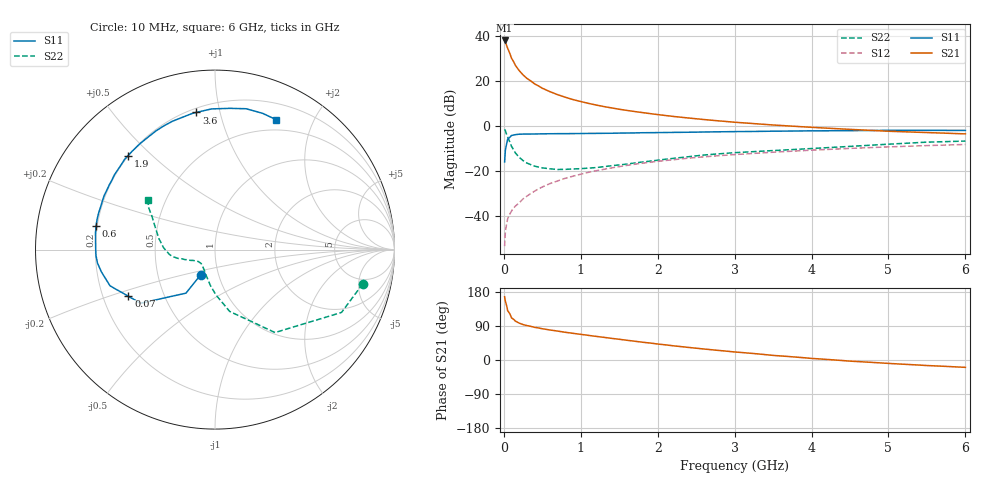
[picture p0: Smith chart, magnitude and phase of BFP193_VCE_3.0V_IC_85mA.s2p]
! Infineon Technologies  Discrete & RF Semiconductors
! BFP193
! VCE =  3.0 V,  IC =  85 mA
! Common Emitter S-Parameters:  Jan 2017
# GHz  S  MA  R  50
!  f  S11  S21  S12  S22
! GHz  MAG  ANG  MAG  ANG  MAG  ANG  MAG  ANG
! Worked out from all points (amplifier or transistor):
!   77 points, 10 MHz to 6 GHz, reference 50 ohm
!   highest |S21| = 37.9 dB at 10 MHz (marker M1)
!   |S21| within 3 dB of that: start of sweep to 44.46 MHz
!   unconditionally stable (mu >= 1): 284.4 MHz to 2.55 GHz
!   at 130 MHz: K = 0.78, MSG = 32.2 dB, |S12| = -36.2 dB
!   at 2.2 GHz: K = 1.02, MAG = 8.7 dB, |S12| = -14.9 dB
!   at 6 GHz: K = 0.95, MSG = 2.3 dB, |S12| = -8.1 dB
!   S11 on the Smith chart (normalised r, x): 10 MHz: 0.82, -0.24; 70 MHz: 0.31, -0.23; 600 MHz: 0.20, +0.10; 1.9 GHz: 0.20, +0.42; 3.6 GHz: 0.22, +0.85; 6 GHz: 0.37, +1.51
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0.01  0.161 -119.6  78.21 166.8  0.0022 81.2  0.8452 -13.0
0.02  0.2917 -123.7  73.49 154.9  0.0046 80.8  0.7871 -26.4
0.05  0.5111 -144.2  52.3 129.7  0.0089 59.8  0.5705 -54.1
0.07  0.5483 -151.7  43.57 124.4  0.0106 59.9  0.4764 -60.6
0.1  0.6188 -161.0  31.66 111.1  0.0132 60.1  0.3545 -76.6
0.15  0.6457 -169.1  22.03 102.6  0.017 63.1  0.2545 -88.5
0.2  0.6594 -173.6  16.8 97.3  0.02 66.0  0.203 -97.1
0.25  0.664 -177.3  13.54 93.5  0.0245 67.9  0.1721 -103.1
0.3  0.6644 -179.9  11.33 90.8  0.0281 69.3  0.1516 -109.0
0.4  0.6673 175.7  8.572 86.2  0.0363 71.2  0.1296 -117.4
0.5  0.6724 171.9  6.869 82.5  0.0449 71.9  0.1186 -124.3
0.6  0.6758 168.6  5.754 79.2  0.0533 71.4  0.1132 -130.1
0.8  0.6798 162.6  4.328 73.1  0.0701 71.3  0.11 -137.5
1.1  0.6869 154.1  3.174 65.0  0.0947 68.0  0.1173 -146.0
1.5  0.6982 143.5  2.352 54.7  0.1264 63.2  0.138 -154.1
1.9  0.7133 132.8  1.886 44.8  0.1577 57.9  0.1672 -160.3
2.1  0.7191 127.7  1.711 40.0  0.1725 55.3  0.184 -163.1
3.1  0.7551 106.6  1.181 19.6  0.2396 42.0  0.2632 -176.2
3.6  0.7714 97.7  1.03 10.7  0.2692 36.0  0.2925 176.0
4.1  0.7845 89.9  0.917 2.9  0.2977 29.8  0.3247 167.0
5.1  0.803 76.2  0.757 -10.1  0.3503 17.8  0.4053 151.2
6  0.8003 64.9  0.671 -19.4  0.3913 7.5  0.465 143.2
